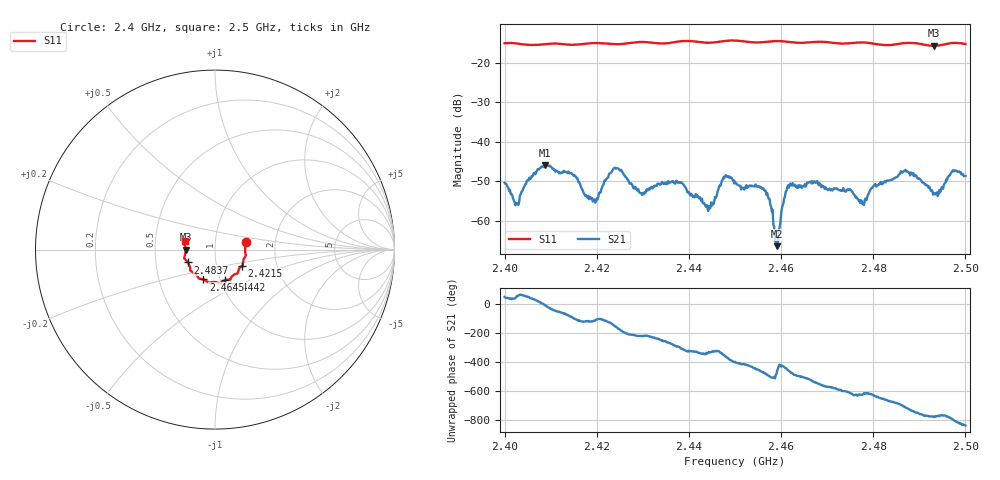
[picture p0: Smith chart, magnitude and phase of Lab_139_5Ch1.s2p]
# Hz S RI R 50
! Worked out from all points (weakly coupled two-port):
!   601 points, 2.4 GHz to 2.5 GHz, reference 50 ohm
!   highest |S21| = -45.91 dB at 2.4088 GHz (marker M1); lowest = -66.4 dB at 2.4592 GHz (marker M2)
!   lowest |S11| = -15.7 dB at 2.4932 GHz (marker M3), VSWR 1.39, Z = 35.9 - j0.0488 ohm
!   |S11| at or under -10 dB: start of sweep to end of sweep
!   S12 and S22 are empty: the file has one direction only
!   S11 on the Smith chart (normalised r, x): 2.4 GHz: 1.41, +0.12; 2.4215 GHz: 1.33, -0.25; 2.4442 GHz: 1.05, -0.37; 2.4645 GHz: 0.83, -0.29; 2.4837 GHz: 0.73, -0.11; 2.5 GHz: 0.71, +0.07
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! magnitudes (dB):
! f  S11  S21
! 2.4 GHz  -15.1  -50.3
! 2.4027 GHz  -15.2  -55.5
! 2.4088 GHz  -15.3  -45.9
! 2.4167 GHz  -15.3  -51.7
! 2.4197 GHz  -15.0  -55.4
! 2.4215 GHz  -15.1  -50.7
! 2.4242 GHz  -15.3  -46.8
! 2.4297 GHz  -14.8  -53.0
! 2.4333 GHz  -15.1  -50.6
! 2.4442 GHz  -15.0  -57.5
! 2.4477 GHz  -14.5  -49.2
! 2.45 GHz  -14.4  -50.0
! 2.4565 GHz  -14.8  -52.4
! 2.4592 GHz  -14.5  -66.4
! 2.4615 GHz  -14.7  -51.0
! 2.4645 GHz  -15.0  -51.7
! 2.4667 GHz  -14.8  -50.6
! 2.4775 GHz  -14.9  -55.0
! 2.4833 GHz  -15.6  -49.9
! 2.4837 GHz  -15.5  -49.7
! 2.4932 GHz  -15.7  -52.9
! 2.5 GHz  -15.3  -48.6
